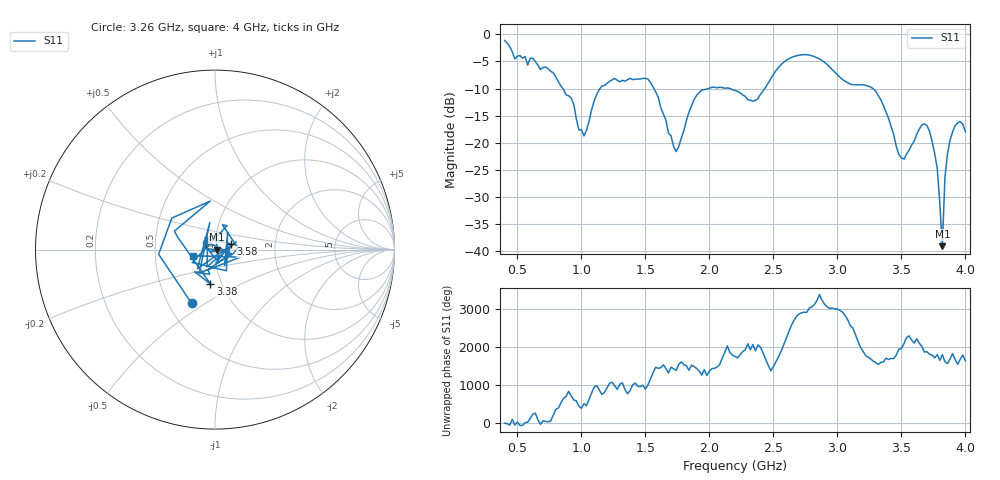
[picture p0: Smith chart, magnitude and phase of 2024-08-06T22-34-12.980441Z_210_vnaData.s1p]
!Created with skrf (http://scikit-rf.org).
# Hz S RI R 50.0
!freq ReS11 ImS11
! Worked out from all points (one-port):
!   181 points, 400 MHz to 4 GHz, reference 50 ohm
!   lowest |S11| = -39.0 dB at 3.82 GHz (marker M1), VSWR 1.02, Z = 51.1 - j0.125 ohm
!   |S11| at or under -10 dB: 856.3 MHz to 1.145 GHz (289.1 MHz wide, 28.9 % of centre); 1.567 GHz to 1.992 GHz (424.7 MHz wide, 23.9 % of centre); 3.278 GHz to end of sweep (the widest 3 of 4)
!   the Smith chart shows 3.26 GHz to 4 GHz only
!   S11 on the Smith chart (normalised r, x): 3.26 GHz: 0.65, -0.44; 3.38 GHz: 0.88, -0.35; 3.58 GHz: 1.19, +0.08; 4 GHz: 0.78, -0.05
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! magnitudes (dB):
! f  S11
! 400 MHz  -1.1
! 480 MHz  -4.5
! 860 MHz  -10.1
! 1.02 GHz  -18.7
! 1.14 GHz  -10.2
! 1.3 GHz  -8.7
! 1.52 GHz  -8.2
! 1.72 GHz  -20.7
! 1.76 GHz  -20.7
! 1.92 GHz  -10.7
! 2.2 GHz  -10.3
! 2.36 GHz  -12.2
! 2.66 GHz  -4.1
! 2.86 GHz  -4.5
! 3.1 GHz  -9.2
! 3.26 GHz  -9.7
! 3.38 GHz  -14.3
! 3.48 GHz  -22.1
! 3.56 GHz  -21.4
! 3.58 GHz  -20.4
! 3.66 GHz  -16.7
! 3.72 GHz  -17.9
! 3.78 GHz  -24.7
! 3.82 GHz  -39.0
! 3.84 GHz  -26.4
! 3.88 GHz  -19.5
! 3.94 GHz  -16.3
! 4 GHz  -17.9
